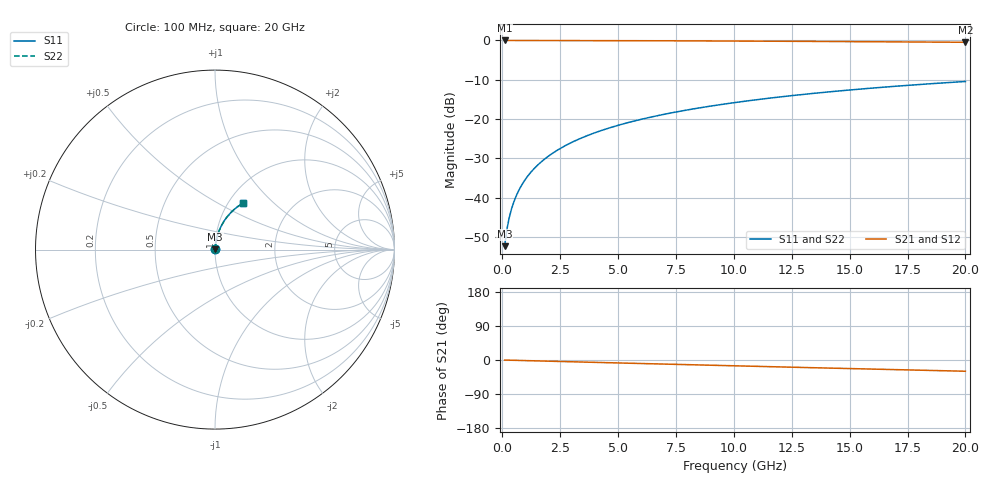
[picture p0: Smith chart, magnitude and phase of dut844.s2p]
! Touchstone file exported from HFSS 2026.1.0
!  File:  C:/ffzhzh/LocalFiles/Ansys_Project_Files/temp_train_BSMRDL_844_1783170469_18472.aedt
!  Generated:  09:09:06 PM Jul  4, 2026
!  Design:  BSMRDL
!  Project:  temp_train_BSMRDL_844_1783170469_18472
! Variables:
!  h_bsmrdl = 4.23um
!  h_ox = 20um
!  h_rdl = 5um
!  h_sub = 80um
!  h_tmrdl = 5um
!  h_tsv = 80um
!  h_via = 3um
!  l_bsmrdl = 391.72um
!  l_sub = 791.72um
!  l_tmrdl = 200um
!  m_sub = 200um
!  pitch = 55um
!  r_tsv = 6um
!  s_tmrdl = 10um
!  w_bsmrdl = 23.04um
!  w_sub = 500um
!  w_tmrdl = 12um
!  x_tsv_center1 = 206um
!  x_tsv_center2 = 620.76um
!  x_tsv_center3 = 832.76um
!  x_tsv_center4 = 1247.52um
!  x_tsv_center5 = 1459.52um
!  x_tsv_center6 = 1874.28um
# GHz S MA R 50.000000
! Terminal data exported
! Port[1] = BSM_RDL1_1_T1
! Port[2] = BSM_RDL1_1_T2
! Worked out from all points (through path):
!   200 points, 100 MHz to 20 GHz, reference 50 ohm
!   highest |S21| = -0.01 dB at 100 MHz (marker M1); lowest = -0.5 dB at 20 GHz (marker M2)
!   group delay of S21, straight-line fit = 4.12 ps
!   lowest |S11| = -52.3 dB at 100 MHz (marker M3), VSWR 1.00, Z = 50.2 + j0.182 ohm
!   |S11| at or under -10 dB: start of sweep to end of sweep
!   |S22| runs from -52.3 to -10.4 dB; largest |S21 - S12| = 2e-15
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0.1  0.002431 48.4  0.9984 -0.2  0.9984 -0.2  0.002431 48.4
! Gamma 0 0 0 0
! Port Impedance 50 0 50 0
0.2  0.003974 64.5  0.9983 -0.3  0.9983 -0.3  0.003974 64.5
0.3  0.005607 71.0  0.9982 -0.5  0.9982 -0.5  0.005607 71.0
0.4  0.007251 74.6  0.9981 -0.6  0.9981 -0.6  0.007251 74.6
0.5  0.008898 76.8  0.9981 -0.8  0.9981 -0.8  0.008898 76.8
0.7  0.01221 79.5  0.998 -1.1  0.998 -1.1  0.01221 79.5
0.8  0.01387 80.4  0.9979 -1.3  0.9979 -1.3  0.01387 80.4
1  0.01721 81.5  0.9978 -1.6  0.9978 -1.6  0.01721 81.5
1.2  0.02056 82.2  0.9977 -1.9  0.9977 -1.9  0.02056 82.2
1.4  0.02391 82.6  0.9976 -2.2  0.9976 -2.2  0.02391 82.6
1.7  0.02894 82.9  0.9974 -2.7  0.9974 -2.7  0.02894 82.9
2  0.03396 82.9  0.9971 -3.1  0.9971 -3.1  0.03396 82.9
2.7  0.04564 82.5  0.9964 -4.2  0.9964 -4.2  0.04564 82.5
3.5  0.05889 81.7  0.9954 -5.5  0.9954 -5.5  0.05889 81.7
4.2  0.07038 80.8  0.9943 -6.6  0.9943 -6.6  0.07038 80.8
5  0.08338 79.8  0.993 -7.8  0.993 -7.8  0.08338 79.8
6.8  0.1121 77.3  0.9894 -10.5  0.9894 -10.5  0.1121 77.3
8.3  0.1356 75.2  0.986 -12.8  0.986 -12.8  0.1356 75.2
10.1  0.1631 72.6  0.9813 -15.5  0.9813 -15.5  0.1631 72.6
13.4  0.2118 68.0  0.9712 -20.3  0.9712 -20.3  0.2118 68.0
16.7  0.2577 63.4  0.9595 -25.1  0.9595 -25.1  0.2577 63.5
20  0.3007 59.0  0.9465 -29.7  0.9465 -29.7  0.3007 59.0
